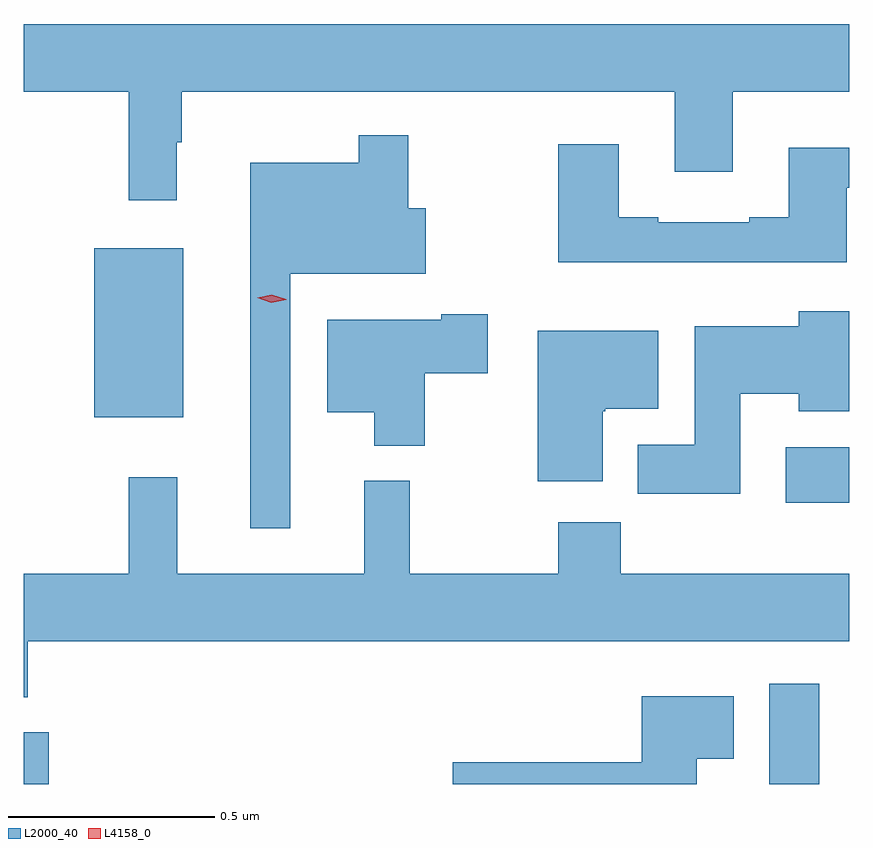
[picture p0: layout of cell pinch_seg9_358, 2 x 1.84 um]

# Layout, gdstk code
import gdstk
lib = gdstk.Library(unit=1e-6, precision=1e-09)
def R(c, l, rs):  # rectangles x0, y0, x1, y1
    for r in rs: c.add(gdstk.rectangle(r[:2], r[2:], *l))
def P(c, l, *ps):  # polygons
    for p in ps: c.add(gdstk.Polygon(p, *l))
L2000_40 = (2000, 40)
L4158_0 = (4158, 0)

pinch_seg9_358 = lib.new_cell('pinch_seg9_358')
R(pinch_seg9_358, L2000_40, [(611.849,1186.75,611.909,1186.875), (613.655,1186.75,613.777,1186.993), (613.695,1187.432,613.849,1187.566), (612.02,1187.639,612.235,1188.049)])
P(pinch_seg9_358, L2000_40, [(612.22,1188.305),(612.232,1188.305),(612.232,1188.428),(613.427,1188.428),(613.427,1188.234),(613.567,1188.234),(613.567,1188.428),(613.849,1188.428),(613.849,1188.592),(611.849,1188.592),(611.849,1188.428),(612.103,1188.428),(612.103,1188.165),(612.22,1188.165)],
  [(612.495,1187.987),(612.823,1187.987),(612.823,1188.145),(612.781,1188.145),(612.781,1188.322),(612.66,1188.322),(612.66,1188.256),(612.398,1188.256),(612.398,1187.37),(612.495,1187.37)],
  [(613.843,1188.195),(613.849,1188.195),(613.849,1188.292),(613.703,1188.292),(613.703,1188.124),(613.607,1188.124),(613.607,1188.111),(613.387,1188.111),(613.387,1188.124),(613.291,1188.124),(613.291,1188.301),(613.144,1188.301),(613.144,1188.014),(613.843,1188.014)],
  [(613.585,1187.696),(613.727,1187.696),(613.727,1187.654),(613.849,1187.654),(613.849,1187.896),(613.727,1187.896),(613.727,1187.86),(613.475,1187.86),(613.475,1187.572),(613.337,1187.572),(613.337,1187.454),(613.585,1187.454)],
  [(612.82,1187.746),(612.973,1187.746),(612.973,1187.888),(612.86,1187.888),(612.86,1187.875),(612.584,1187.875),(612.584,1187.651),(612.698,1187.651),(612.698,1187.57),(612.82,1187.57)],
  [(613.252,1187.654),(613.258,1187.654),(613.258,1187.66),(613.387,1187.66),(613.387,1187.848),(613.094,1187.848),(613.094,1187.484),(613.252,1187.484)],
  [(611.858,1187.096),(613.849,1187.096),(613.849,1187.26),(613.295,1187.26),(613.295,1187.384),(613.144,1187.384),(613.144,1187.26),(612.784,1187.26),(612.784,1187.485),(612.674,1187.485),(612.674,1187.26),(612.221,1187.26),(612.221,1187.494),(612.103,1187.494),(612.103,1187.26),(611.849,1187.26),(611.849,1186.96),(611.858,1186.96)],
  [(613.48,1186.811),(613.57,1186.811),(613.57,1186.963),(613.346,1186.963),(613.346,1186.803),(612.888,1186.803),(612.888,1186.75),(613.48,1186.75)])
P(pinch_seg9_358, L4158_0, [(612.449,1187.916),(612.414,1187.928),(612.414,1187.928),(612.414,1187.929),(612.45,1187.936),(612.485,1187.925),(612.485,1187.924),(612.485,1187.924)])

lib.write_gds('pinch_seg9_358.gds')
